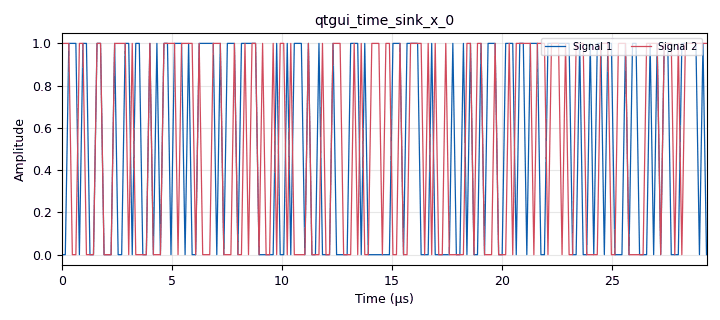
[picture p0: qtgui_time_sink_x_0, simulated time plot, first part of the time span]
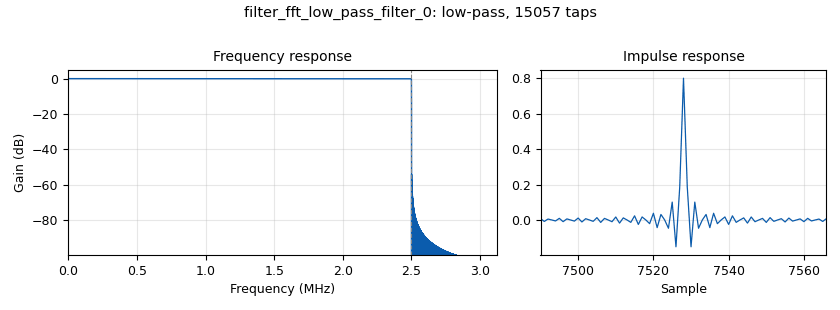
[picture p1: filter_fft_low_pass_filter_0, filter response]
options:
  parameters:
    author: jairo_edson
    generate_options: qt_gui
    id: practica4_jairo_edson
    output_language: python
    title: Ber_comu2
  states: {}

blocks:
- name: Ac
  id: variable_qtgui_range
  parameters:
    label: Amplitud de portadora
    start: '0'
    step: '0.1'
    stop: '2'
    value: '0.1'
  states: {state: disabled}
- name: B
  id: variable_qtgui_range
  parameters:
    label: '# muestras por simbolo(sps)'
    start: '1'
    step: '1'
    stop: '40'
    value: '10'
  states: {state: disabled}
- name: DC
  id: variable_qtgui_range
  parameters:
    label: nivel de señal modulante
    start: '-8'
    step: '0.1'
    stop: '8'
    value: '-1'
  states: {}
- name: 'No'
  id: variable_qtgui_range
  parameters:
    label: Amplitud del ruido
    start: '0'
    step: '0.0001'
    stop: '0.8'
    value: '0.2'
  states: {}
- name: n
  id: variable_qtgui_range
  parameters:
    label: '# bits por simbolo'
    start: '1'
    step: '1'
    stop: '4'
    value: '1'
  states: {}
- name: samp_rate
  id: variable
  parameters:
    value: 12500000/2
  states: {}
- name: analog_noise_source_x_0
  id: analog_noise_source_x
  parameters:
    amp: 'No'
    noise_type: analog.GR_GAUSSIAN
    seed: '0'
    type: float
  states: {}
- name: analog_random_source_x_0
  id: analog_random_source_x
  parameters:
    max: int(math.pow(2,n))
    min: '0'
    num_samps: '10000000'
    repeat: 'False'
    type: byte
  states: {}
- name: blocks_add_const_vxx_0
  id: blocks_add_const_vxx
  parameters:
    const: DC
    type: float
  states: {}
- name: blocks_add_xx_0
  id: blocks_add_xx
  parameters:
    type: float
  states: {}
- name: blocks_char_to_float_0
  id: blocks_char_to_float
  parameters:
    scale: '0.5'
  states: {}
- name: blocks_char_to_float_0_0
  id: blocks_char_to_float
  parameters:
    scale: '1'
  states: {}
- name: blocks_char_to_float_0_1
  id: blocks_char_to_float
  parameters:
    scale: '1'
  states: {}
- name: blocks_pack_k_bits_bb_0
  id: blocks_pack_k_bits_bb
  parameters:
    k: '8'
  states: {}
- name: blocks_pack_k_bits_bb_0_0
  id: blocks_pack_k_bits_bb
  parameters:
    k: '8'
  states: {}
- name: digital_binary_slicer_fb_0
  id: digital_binary_slicer_fb
  parameters: {}
  states: {}
- name: fec_ber_bf_0
  id: fec_ber_bf
  parameters:
    test_mode: 'False'
  states: {}
- name: filter_fft_low_pass_filter_0
  id: filter_fft_low_pass_filter
  parameters:
    cutoff_freq: samp_rate/2-(samp_rate/10)
    decim: '1'
    gain: '1'
    samp_rate: samp_rate
    type: fff
    width: '1000'
    win: window.WIN_HAMMING
  states: {}
- name: import_0
  id: import
  parameters:
    imports: import math
  states: {}
- name: qtgui_number_sink_0
  id: qtgui_number_sink
  parameters:
    autoscale: 'True'
    graph_type: qtgui.NUM_GRAPH_HORIZ
    type: float
  states: {}
- name: qtgui_time_sink_x_0
  id: qtgui_time_sink_x
  parameters:
    autoscale: 'True'
    nconnections: '2'
    size: 1024*8
    srate: samp_rate
    type: float
  states: {}
- name: virtual_sink_0
  id: virtual_sink
  parameters:
    stream_id: m_t
  states: {}
- name: virtual_source_0
  id: virtual_source
  parameters:
    stream_id: m_t
  states: {}

connections:
- [analog_noise_source_x_0, '0', blocks_add_xx_0, '1']
- [analog_random_source_x_0, '0', blocks_char_to_float_0, '0']
- [analog_random_source_x_0, '0', blocks_char_to_float_0_1, '0']
- [analog_random_source_x_0, '0', blocks_pack_k_bits_bb_0, '0']
- [blocks_add_const_vxx_0, '0', virtual_sink_0, '0']
- [blocks_add_xx_0, '0', filter_fft_low_pass_filter_0, '0']
- [blocks_char_to_float_0, '0', blocks_add_const_vxx_0, '0']
- [blocks_char_to_float_0_0, '0', qtgui_time_sink_x_0, '1']
- [blocks_char_to_float_0_1, '0', qtgui_time_sink_x_0, '0']
- [blocks_pack_k_bits_bb_0, '0', fec_ber_bf_0, '0']
- [blocks_pack_k_bits_bb_0_0, '0', fec_ber_bf_0, '1']
- [digital_binary_slicer_fb_0, '0', blocks_char_to_float_0_0, '0']
- [digital_binary_slicer_fb_0, '0', blocks_pack_k_bits_bb_0_0, '0']
- [fec_ber_bf_0, '0', qtgui_number_sink_0, '0']
- [filter_fft_low_pass_filter_0, '0', digital_binary_slicer_fb_0, '0']
- [virtual_source_0, '0', blocks_add_xx_0, '0']

metadata:
  file_format: 1
